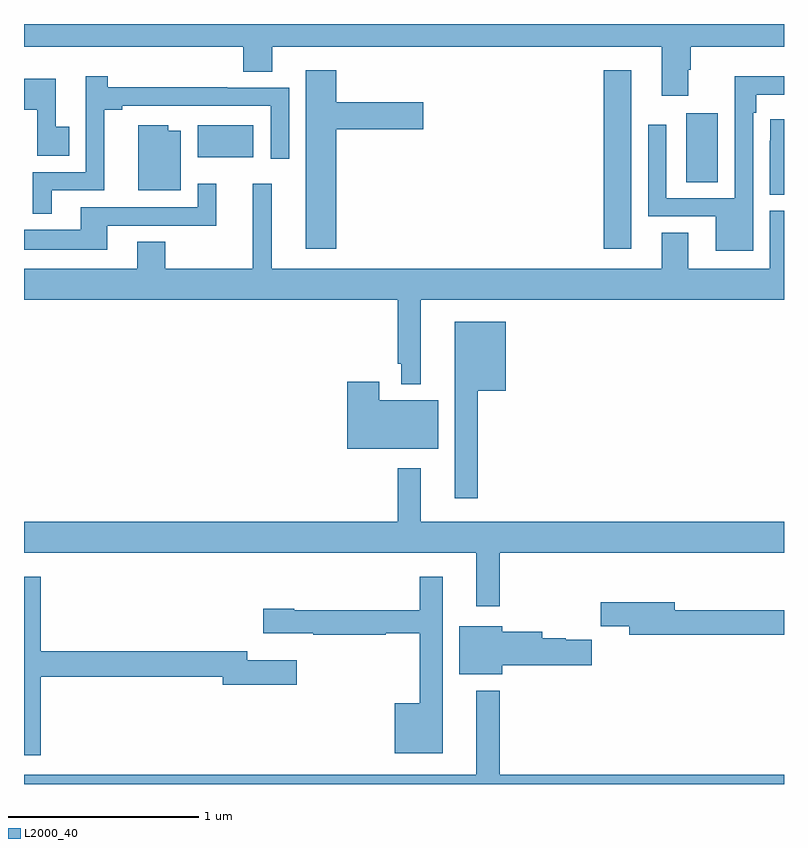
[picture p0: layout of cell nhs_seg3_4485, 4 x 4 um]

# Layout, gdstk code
import gdstk
lib = gdstk.Library(unit=1e-6, precision=1e-09)
def R(c, l, rs):  # rectangles x0, y0, x1, y1
    for r in rs: c.add(gdstk.rectangle(r[:2], r[2:], *l))
def P(c, l, *ps):  # polygons
    for p in ps: c.add(gdstk.Polygon(p, *l))
L2000_40 = (2000, 40)

nhs_seg3_4485 = lib.new_cell('nhs_seg3_4485')
R(nhs_seg3_4485, L2000_40, [(354.05,669.216,354.196,670.156), (354.485,669.568,354.652,669.931), (351.914,669.698,352.207,669.868)])
P(nhs_seg3_4485, L2000_40, [(354.496,670.16),(354.509,670.16),(354.509,670.28),(355,670.28),(355,670.4),(351,670.4),(351,670.28),(352.154,670.28),(352.154,670.15),(352.306,670.15),(352.306,670.28),(354.356,670.28),(354.356,670.023),(354.496,670.023)],
  [(352.643,669.845),(353.101,669.845),(353.101,669.987),(352.643,669.987),(352.643,670.156),(352.484,670.156),(352.484,669.216),(352.643,669.216)],
  [(354.837,669.932),(354.853,669.932),(354.853,670.028),(355,670.028),(355,670.126),(354.741,670.126),(354.741,669.483),(354.381,669.483),(354.381,669.871),(354.285,669.871),(354.285,669.387),(354.641,669.387),(354.641,669.206),(354.837,669.206)],
  [(351.145,669.525),(351.422,669.525),(351.422,669.949),(351.517,669.949),(351.517,669.969),(352.299,669.969),(352.299,669.69),(352.395,669.69),(352.395,670.065),(352.07,670.065),(352.07,670.067),(351.44,670.067),(351.44,670.126),(351.324,670.126),(351.324,669.621),(351.047,669.621),(351.047,669.401),(351.145,669.401)],
  [(351.239,669.858),(351.166,669.858),(351.166,670.111),(351,670.111),(351,669.95),(351.069,669.95),(351.069,669.706),(351.239,669.706)],
  [(355,669.898),(354.927,669.898),(354.927,669.785),(354.926,669.785),(354.926,669.502),(355,669.502)],
  [(351.826,669.838),(351.76,669.838),(351.76,669.868),(351.602,669.868),(351.602,669.524),(351.826,669.524)],
  [(353.089,668.948),(355,668.948),(355,669.417),(354.926,669.417),(354.926,669.112),(354.496,669.112),(354.496,669.302),(354.356,669.302),(354.356,669.112),(352.304,669.112),(352.304,669.559),(352.205,669.559),(352.205,669.112),(351.744,669.112),(351.744,669.254),(351.596,669.254),(351.596,669.112),(351,669.112),(351,668.948),(352.968,668.948),(352.968,668.611),(352.985,668.611),(352.985,668.504),(353.089,668.504)],
  [(351.439,669.339),(352.013,669.339),(352.013,669.559),(351.915,669.559),(351.915,669.435),(351.299,669.435),(351.299,669.316),(351,669.316),(351,669.212),(351.439,669.212)],
  [(353.389,668.471),(353.536,668.471),(353.536,668.833),(353.267,668.833),(353.267,667.905),(353.389,667.905)],
  [(353.179,668.419),(352.87,668.419),(352.87,668.518),(352.7,668.518),(352.7,668.165),(353.179,668.165)],
  [(353.503,667.616),(355,667.616),(355,667.78),(353.089,667.78),(353.089,668.062),(352.968,668.062),(352.968,667.78),(351,667.78),(351,667.616),(353.381,667.616),(353.381,667.335),(353.503,667.335)],
  [(353.203,667.492),(353.082,667.492),(353.082,667.315),(352.422,667.315),(352.422,667.323),(352.26,667.323),(352.26,667.193),(352.522,667.193),(352.522,667.186),(352.903,667.186),(352.903,667.194),(353.082,667.194),(353.082,666.826),(352.952,666.826),(352.952,666.563),(353.203,666.563)],
  [(351.089,666.964),(352.046,666.964),(352.046,666.922),(352.435,666.922),(352.435,667.051),(352.174,667.051),(352.174,667.1),(351.089,667.1),(351.089,667.492),(351,667.492),(351,666.552),(351.089,666.552)],
  [(355,667.315),(354.424,667.315),(354.424,667.357),(354.036,667.357),(354.036,667.231),(354.185,667.231),(354.185,667.186),(355,667.186)],
  [(353.518,667.025),(353.989,667.025),(353.989,667.16),(353.85,667.16),(353.85,667.167),(353.728,667.167),(353.728,667.201),(353.518,667.201),(353.518,667.231),(353.291,667.231),(353.291,666.977),(353.518,666.977)],
  [(355,666.448),(353.503,666.448),(353.503,666.892),(353.381,666.892),(353.381,666.448),(351,666.448),(351,666.4),(355,666.4)])

lib.write_gds('nhs_seg3_4485.gds')
